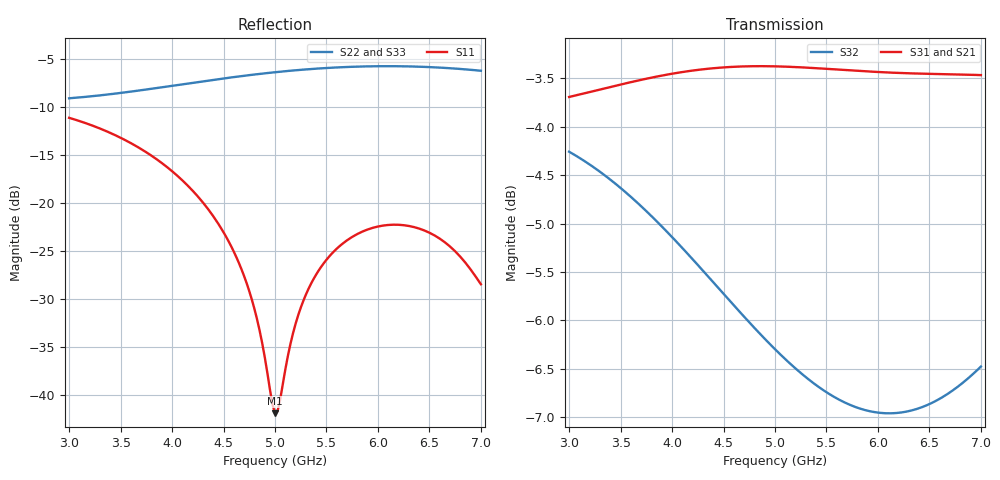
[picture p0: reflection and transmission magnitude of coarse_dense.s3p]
! yapnr rf: divider-osh-w-star-sched-fwd, footprint re-simulated (optimization grid)
! spec sha256 29431923023cd9b52053ba022314b978b7e49c75d0edec580638c4f43fb7ae45
! 3 ports renormalized to 50 ohm, e^(+jwt) convention
# GHz S RI R 50
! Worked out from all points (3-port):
!   161 points, 3 GHz to 7 GHz, reference 50 ohm
!   strongest paths, dB at 3 GHz, 4 GHz, 5 GHz, 6 GHz, 7 GHz:
!     S31: -3.7, -3.5, -3.4, -3.4, -3.5
!     S21: -3.7, -3.5, -3.4, -3.4, -3.5
!     S32: -4.3, -5.1, -6.3, -7.0, -6.5
!   lowest |S11| = -41.9 dB at 5 GHz (marker M1), VSWR 1.02, Z = 49.6 + j0.717 ohm
!   |S11| at or under -10 dB: start of sweep to end of sweep
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3  -0.1041 0.2581  -0.3505 -0.5522  -0.3505 -0.5522
   -0.3505 -0.5517  0.3019 0.1805  -0.5793 -0.1988
   -0.3505 -0.5517  -0.5793 -0.1988  0.3019 0.1805
3.625  0.000233 0.2019  -0.5738 -0.3379  -0.5738 -0.3379
       -0.5735 -0.338  0.3785 -0.0561  -0.5588 0.151
       -0.5735 -0.338  -0.5588 0.151  0.3785 -0.0561
4.4  0.0393 0.0759  -0.6737 0.0514  -0.6737 0.0514
     -0.6744 0.0503  0.2673 -0.3479  -0.2983 0.4314
     -0.6744 0.0503  -0.2983 0.4314  0.2673 -0.3479
4.75  0.0193 0.029  -0.6343 0.2355  -0.6343 0.2355
      -0.636 0.2345  0.1553 -0.4376  -0.1514 0.4766
      -0.636 0.2345  -0.1514 0.4766  0.1553 -0.4376
5  -0.00353 0.00722  -0.5743 0.3566  -0.5743 0.3566
   -0.5767 0.3561  0.0609 -0.4769  -0.0501 0.4818
   -0.5767 0.3561  -0.0501 0.4818  0.0609 -0.4769
5.175  -0.021 -0.00133  -0.5183 0.4328  -0.5183 0.4328
       -0.521 0.4329  -0.0091 -0.4908  0.0166 0.4744
       -0.521 0.4329  0.0166 0.4744  -0.0091 -0.4908
5.3  -0.0331 -0.00414  -0.4719 0.4818  -0.4719 0.4818
     -0.4747 0.4824  -0.0598 -0.4937  0.0617 0.4644
     -0.4747 0.4824  0.0617 0.4644  -0.0598 -0.4937
5.75  -0.0666 0.00393  -0.2705 0.6144  -0.2705 0.6144
      -0.2728 0.6169  -0.2355 -0.4561  0.2054 0.4036
      -0.2728 0.6169  0.2054 0.4036  -0.2355 -0.4561
6.425  -0.0664 0.0303  0.0862 0.6629  0.0862 0.6629
       0.0872 0.6663  -0.4282 -0.283  0.3709 0.2584
       0.0872 0.6663  0.3709 0.2584  -0.4282 -0.283
7  -0.0358 0.0121  0.3795 0.55  0.3795 0.55
   0.3829 0.5508  -0.4828 -0.0805  0.4668 0.0849
   0.3829 0.5508  0.4668 0.0849  -0.4828 -0.0805
